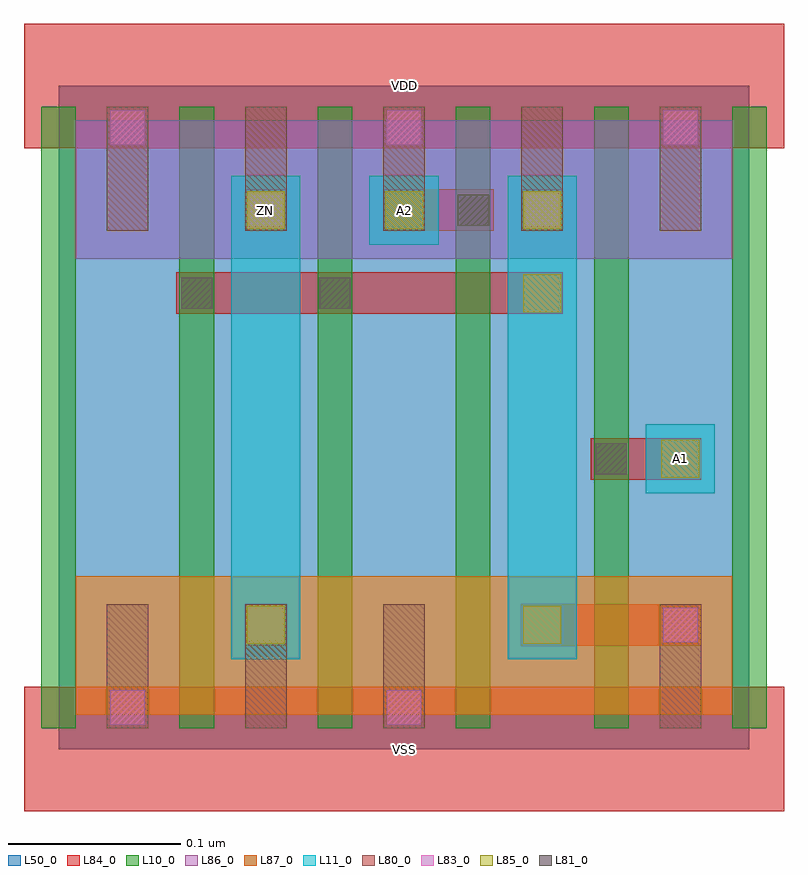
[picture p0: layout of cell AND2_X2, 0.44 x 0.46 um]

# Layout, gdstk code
import gdstk
lib = gdstk.Library(unit=1e-6, precision=1e-09)
def R(c, l, rs):  # rectangles x0, y0, x1, y1
    for r in rs: c.add(gdstk.rectangle(r[:2], r[2:], *l))
def A(c, l, x, y, w, h, nx, ny, dx, dy):  # array of equal rectangles
    R(c, l, [(x+i*dx, y+j*dy, x+i*dx+w, y+j*dy+h) for i in range(nx) for j in range(ny)])
L10_0 = (10, 0)
L11_0 = (11, 0)
L50_0 = (50, 0)
L80_0 = (80, 0)
L81_0 = (81, 0)
L83_0 = (83, 0)
L84_0 = (84, 0)
L85_0 = (85, 0)
L86_0 = (86, 0)
L87_0 = (87, 0)

and2_x2 = lib.new_cell('AND2_X2')
A(and2_x2, L10_0, -0.01, 0.012, 0.02, 0.36, 6, 1, 0.08, 0)
R(and2_x2, L11_0, [(0.1,0.052,0.14,0.332), (0.26,0.052,0.3,0.332), (0.34,0.148,0.38,0.188), (0.18,0.292,0.22,0.332)])
R(and2_x2, L50_0, [(0,0,0.4,0.384)])
A(and2_x2, L80_0, 0.028, 0.012, 0.024, 0.072, 3, 1, 0.08, 0)
A(and2_x2, L80_0, 0.028, 0.3, 0.024, 0.072, 5, 1, 0.08, 0)
R(and2_x2, L80_0, [(0.348,0.012,0.372,0.084)])
R(and2_x2, L81_0, [(0.311,0.159,0.329,0.177), (0.071,0.255,0.089,0.273), (0.151,0.255,0.169,0.273), (0.231,0.303,0.249,0.321)])
A(and2_x2, L83_0, 0.03, 0.35, 0.02, 0.02, 3, 1, 0.16, 0)
R(and2_x2, L83_0, [(0.03,0.014,0.05,0.034), (0.19,0.014,0.21,0.034), (0.11,0.062,0.13,0.082), (0.35,0.062,0.37,0.082), (0.11,0.302,0.13,0.322), (0.27,0.302,0.29,0.322)])
R(and2_x2, L84_0, [(-0.02,-0.036,0.42,0.036), (0.108,0.06,0.132,0.084), (0.268,0.06,0.372,0.084), (0.308,0.156,0.372,0.18), (0.068,0.252,0.292,0.276), (0.108,0.3,0.132,0.324), (0.188,0.3,0.252,0.324), (0.268,0.3,0.292,0.324), (-0.02,0.348,0.42,0.42)])
A(and2_x2, L85_0, 0.109, 0.301, 0.022, 0.022, 3, 1, 0.08, 0)
R(and2_x2, L85_0, [(0.109,0.061,0.131,0.083), (0.269,0.061,0.291,0.083), (0.349,0.157,0.371,0.179), (0.269,0.253,0.291,0.275)])
R(and2_x2, L86_0, [(0.01,0.284,0.39,0.364)])
R(and2_x2, L87_0, [(0.01,0.02,0.39,0.1)])
and2_x2.add(gdstk.Label('VDD', (0.2,0.384), layer=88, texttype=0))
and2_x2.add(gdstk.Label('VSS', (0.2,0), layer=88, texttype=0))
and2_x2.add(gdstk.Label('ZN', (0.12,0.312), layer=31, texttype=0))
and2_x2.add(gdstk.Label('A1', (0.36,0.168), layer=31, texttype=0))
and2_x2.add(gdstk.Label('A2', (0.2,0.312), layer=31, texttype=0))

lib.write_gds('AND2_X2.gds')
